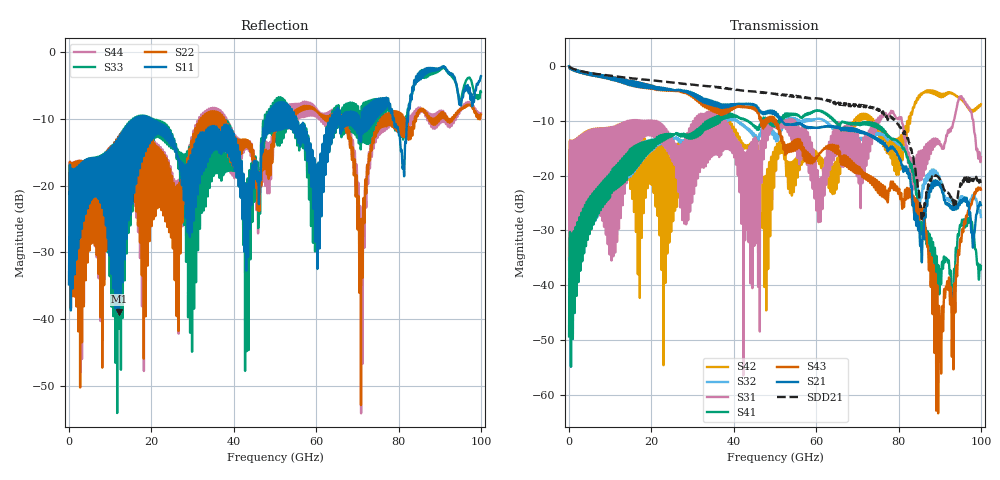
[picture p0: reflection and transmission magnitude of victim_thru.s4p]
# Hz S RI R 50
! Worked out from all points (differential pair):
!   10000 points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, 10 MHz to 100 GHz, reference 50 ohm
!   strongest paths, dB at 10 MHz, 25.01 GHz, 50.01 GHz, 75.01 GHz, 100 GHz:
!     S21: -0.1, -4.4, -8.9, -13.6, -25.4
!     S43: -0.1, -4.6, -10.6, -23.1, -22.5
!     S41: -49.3, -12.5, -10.4, -11.0, -36.6
!     S31: -35.3, -13.8, -10.7, -10.0, -16.6
!     S32: -49.3, -13.1, -12.4, -12.2, -27.6
!     S42: -35.3, -14.4, -15.0, -11.9, -7.0
!   taken as a pair (ports 1,3 in; 2,4 out), SDD21 dB: -0.1, -3.0, -5.1, -8.0, -21.7
!   lowest |S11| = -38.9 dB at 12.12 GHz (marker M1), VSWR 1.02, Z = 51.1 + j0.11 ohm
!   |S11| at or under -10 dB: start of sweep to 16 GHz; 19.79 GHz to 48.02 GHz (28.23 GHz wide, 83.2 % of centre); 55.04 GHz to 63.38 GHz (8.338 GHz wide, 14.1 % of centre)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
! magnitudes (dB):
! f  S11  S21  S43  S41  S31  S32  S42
! 10 MHz  -34.8  -0.1  -0.1  -49.3  -35.3  -49.3  -35.3
! 12.12 GHz  -38.9  -2.3  -2.3  -20.3  -26.9  -20.8  -19.0
! 65.65 GHz  -8.9  -11.5  -15.9  -11.1  -13.3  -12.4  -16.3
! 70.88 GHz  -13.4  -11.9  -19.0  -10.4  -18.4  -13.1  -9.9
! 74.02 GHz  -10.2  -12.9  -22.1  -10.4  -12.7  -12.5  -11.2
! 90.03 GHz  -2.4  -21.8  -50.2  -38.0  -14.3  -20.6  -5.3
! 100 GHz  -3.6  -25.4  -22.5  -36.6  -16.6  -27.6  -7.0
